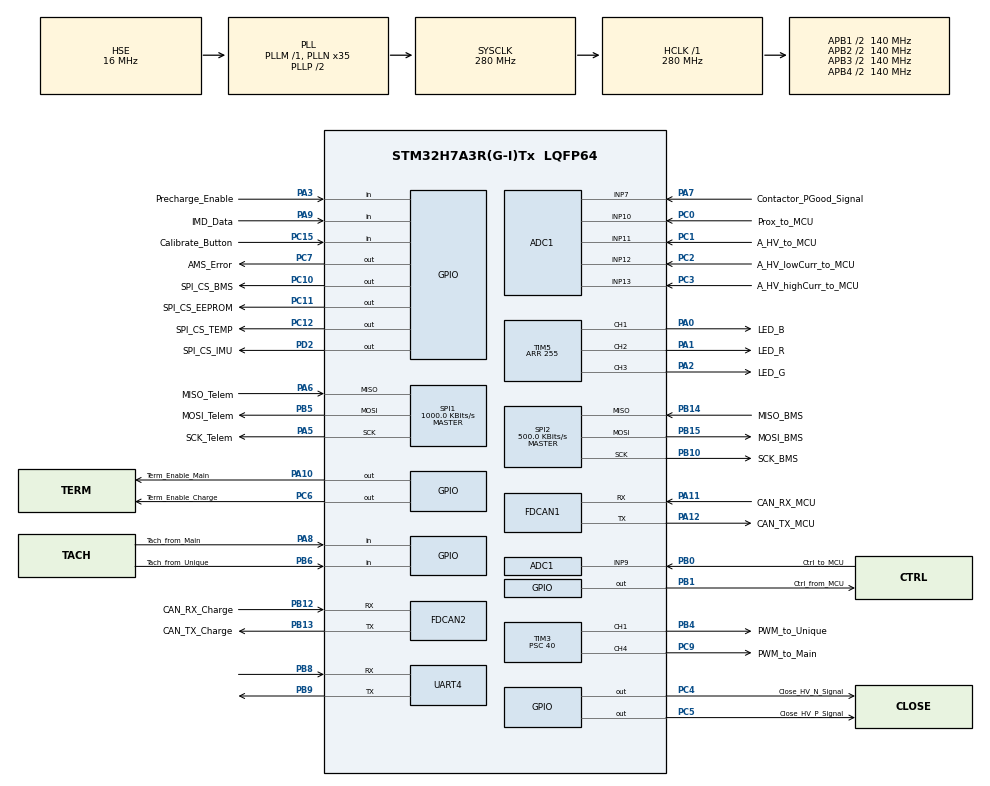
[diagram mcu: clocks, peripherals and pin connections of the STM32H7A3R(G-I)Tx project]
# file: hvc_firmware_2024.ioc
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ADC1.Channel-0\#ChannelRegularConversion=ADC_CHANNEL_7
ADC1.Channel-1\#ChannelRegularConversion=ADC_CHANNEL_9
ADC1.Channel-2\#ChannelRegularConversion=ADC_CHANNEL_10
ADC1.Channel-3\#ChannelRegularConversion=ADC_CHANNEL_11
ADC1.Channel-4\#ChannelRegularConversion=ADC_CHANNEL_12
ADC1.Channel-5\#ChannelRegularConversion=ADC_CHANNEL_13
ADC1.ContinuousConvMode=ENABLE
ADC1.ConversionDataManagement=ADC_CONVERSIONDATA_DMA_CIRCULAR
ADC1.EOCSelection=ADC_EOC_SEQ_CONV
ADC1.NbrOfConversion=6
ADC1.NbrOfConversionFlag=1
ADC1.OffsetNumber-0\#ChannelRegularConversion=ADC_OFFSET_NONE
ADC1.OffsetNumber-1\#ChannelRegularConversion=ADC_OFFSET_NONE
ADC1.OffsetNumber-2\#ChannelRegularConversion=ADC_OFFSET_NONE
ADC1.OffsetNumber-3\#ChannelRegularConversion=ADC_OFFSET_NONE
ADC1.OffsetNumber-4\#ChannelRegularConversion=ADC_OFFSET_NONE
ADC1.OffsetNumber-5\#ChannelRegularConversion=ADC_OFFSET_NONE
ADC1.OffsetSignedSaturation-0\#ChannelRegularConversion=DISABLE
ADC1.OffsetSignedSaturation-1\#ChannelRegularConversion=DISABLE
ADC1.OffsetSignedSaturation-2\#ChannelRegularConversion=DISABLE
ADC1.OffsetSignedSaturation-3\#ChannelRegularConversion=DISABLE
ADC1.OffsetSignedSaturation-4\#ChannelRegularConversion=DISABLE
ADC1.OffsetSignedSaturation-5\#ChannelRegularConversion=DISABLE
ADC1.OversamplingMode=ENABLE
ADC1.Rank-0\#ChannelRegularConversion=1
ADC1.Rank-1\#ChannelRegularConversion=2
ADC1.Rank-2\#ChannelRegularConversion=3
ADC1.Rank-3\#ChannelRegularConversion=4
ADC1.Rank-4\#ChannelRegularConversion=5
ADC1.Rank-5\#ChannelRegularConversion=6
ADC1.Ratio=16
ADC1.RightBitShift=ADC_RIGHTBITSHIFT_4
ADC1.SamplingTime-0\#ChannelRegularConversion=ADC_SAMPLETIME_1CYCLE_5
ADC1.SamplingTime-1\#ChannelRegularConversion=ADC_SAMPLETIME_1CYCLE_5
ADC1.SamplingTime-2\#ChannelRegularConversion=ADC_SAMPLETIME_1CYCLE_5
ADC1.SamplingTime-3\#ChannelRegularConversion=ADC_SAMPLETIME_1CYCLE_5
ADC1.SamplingTime-4\#ChannelRegularConversion=ADC_SAMPLETIME_1CYCLE_5
ADC1.SamplingTime-5\#ChannelRegularConversion=ADC_SAMPLETIME_1CYCLE_5
ADC1.master=1
Dma.ADC1.0.Direction=DMA_PERIPH_TO_MEMORY
Dma.ADC1.0.EventEnable=DISABLE
Dma.ADC1.0.FIFOMode=DMA_FIFOMODE_DISABLE
Dma.ADC1.0.Instance=DMA1_Stream0
Dma.ADC1.0.MemDataAlignment=DMA_MDATAALIGN_HALFWORD
Dma.ADC1.0.MemInc=DMA_MINC_ENABLE
Dma.ADC1.0.Mode=DMA_CIRCULAR
Dma.ADC1.0.PeriphDataAlignment=DMA_PDATAALIGN_HALFWORD
Dma.ADC1.0.PeriphInc=DMA_PINC_DISABLE
Dma.ADC1.0.Polarity=HAL_DMAMUX_REQ_GEN_RISING
Dma.ADC1.0.Priority=DMA_PRIORITY_LOW
Dma.ADC1.0.RequestNumber=1
Dma.ADC1.0.SignalID=NONE
Dma.ADC1.0.SyncEnable=DISABLE
Dma.ADC1.0.SyncPolarity=HAL_DMAMUX_SYNC_NO_EVENT
Dma.ADC1.0.SyncRequestNumber=1
Dma.ADC1.0.SyncSignalID=NONE
Dma.Request0=ADC1
FDCAN1.CalculateBaudRateNominal=1000000
FDCAN1.CalculateTimeBitNominal=1000
FDCAN1.CalculateTimeQuantumNominal=62.5
FDCAN1.NominalPrescaler=1
FDCAN1.NominalTimeSeg1=13
FDCAN1.RxFifo0ElmtsNbr=64
FDCAN2.CalculateBaudRateNominal=500000
FDCAN2.CalculateTimeBitNominal=2000
FDCAN2.CalculateTimeQuantumNominal=125.0
FDCAN2.NominalPrescaler=2
FDCAN2.NominalTimeSeg1=13
Mcu.Family=STM32H7
Mcu.Name=STM32H7A3R(G-I)Tx
Mcu.Package=LQFP64
NVIC.DMA1_Stream0_IRQn=true\:0\:0\:false\:false\:true\:false\:true\:true
NVIC.PriorityGroup=NVIC_PRIORITYGROUP_4
PA0.GPIO_Label=LED_B
PA0.GPIO_ModeDefaultPP=GPIO_MODE_AF_OD
PA0.GPIO_Speed=GPIO_SPEED_FREQ_VERY_HIGH
PA0.Signal=S_TIM5_CH1
PA1.GPIO_Label=LED_R
PA1.GPIO_ModeDefaultPP=GPIO_MODE_AF_OD
PA1.GPIO_Speed=GPIO_SPEED_FREQ_VERY_HIGH
PA1.Signal=S_TIM5_CH2
PA10.GPIO_Label=Term_Enable_Main
PA10.Signal=GPIO_Output
PA11.GPIO_Label=CAN_RX_MCU
PA11.Mode=FDCAN_Activate
PA11.Signal=FDCAN1_RX
PA12.GPIO_Label=CAN_TX_MCU
PA12.Mode=FDCAN_Activate
PA12.Signal=FDCAN1_TX
PA13.Mode=Trace_Asynchronous_SW
PA13.Signal=DEBUG_JTMS-SWDIO
PA14.Mode=Trace_Asynchronous_SW
PA14.Signal=DEBUG_JTCK-SWCLK
PA2.GPIO_Label=LED_G
PA2.GPIO_ModeDefaultPP=GPIO_MODE_AF_OD
PA2.GPIO_Speed=GPIO_SPEED_FREQ_VERY_HIGH
PA2.Signal=S_TIM5_CH3
PA3.GPIO_Label=Precharge_Enable
PA3.Signal=GPIO_Input
PA5.GPIO_Label=SCK_Telem
PA5.GPIO_PuPd=GPIO_PULLUP
PA5.GPIO_Speed=GPIO_SPEED_FREQ_VERY_HIGH
PA5.Mode=Full_Duplex_Master
PA5.Signal=SPI1_SCK
PA6.GPIO_Label=MISO_Telem
PA6.GPIO_PuPd=GPIO_PULLUP
PA6.GPIO_Speed=GPIO_SPEED_FREQ_VERY_HIGH
PA6.Mode=Full_Duplex_Master
PA6.Signal=SPI1_MISO
PA7.GPIO_Label=Contactor_PGood_Signal
PA7.Signal=ADCx_INP7
PA8.GPIO_Label=Tach_from_Main
PA8.GPIO_PuPd=GPIO_PULLUP
PA8.Signal=GPIO_Input
PA9.GPIO_Label=IMD_Data
PA9.Signal=GPIO_Input
PB0.GPIO_Label=Ctrl_to_MCU
PB0.Signal=ADCx_INP9
PB1.GPIO_Label=Ctrl_from_MCU
PB1.Signal=GPIO_Output
PB10.GPIO_Label=SCK_BMS
PB10.GPIO_PuPd=GPIO_PULLUP
PB10.GPIO_Speed=GPIO_SPEED_FREQ_VERY_HIGH
PB10.Mode=Full_Duplex_Master
PB10.Signal=SPI2_SCK
PB12.GPIO_Label=CAN_RX_Charge
PB12.Mode=FDCAN_Activate
PB12.Signal=FDCAN2_RX
PB13.GPIO_Label=CAN_TX_Charge
PB13.Mode=FDCAN_Activate
PB13.Signal=FDCAN2_TX
PB14.GPIO_Label=MISO_BMS
PB14.GPIO_PuPd=GPIO_PULLUP
PB14.GPIO_Speed=GPIO_SPEED_FREQ_VERY_HIGH
PB14.Mode=Full_Duplex_Master
PB14.Signal=SPI2_MISO
PB15.GPIO_Label=MOSI_BMS
PB15.GPIO_PuPd=GPIO_PULLUP
PB15.GPIO_Speed=GPIO_SPEED_FREQ_VERY_HIGH
PB15.Mode=Full_Duplex_Master
PB15.Signal=SPI2_MOSI
PB3.Mode=Trace_Asynchronous_SW
PB3.Signal=DEBUG_JTDO-SWO
PB4.GPIO_Label=PWM_to_Unique
PB4.GPIO_PuPd=GPIO_NOPULL
PB4.Signal=S_TIM3_CH1
PB5.GPIO_Label=MOSI_Telem
PB5.GPIO_PuPd=GPIO_PULLUP
PB5.GPIO_Speed=GPIO_SPEED_FREQ_VERY_HIGH
PB5.Mode=Full_Duplex_Master
PB5.Signal=SPI1_MOSI
PB6.GPIO_Label=Tach_from_Unique
PB6.GPIO_PuPd=GPIO_PULLUP
PB6.Signal=GPIO_Input
PB8.Mode=Asynchronous
PB8.Signal=UART4_RX
PB9.Mode=Asynchronous
PB9.Signal=UART4_TX
PC0.GPIO_Label=Prox_to_MCU
PC0.Signal=ADCx_INP10
PC1.GPIO_Label=A_HV_to_MCU
PC1.Signal=ADCx_INP11
PC10.GPIO_Label=SPI_CS_BMS
PC10.GPIO_Speed=GPIO_SPEED_FREQ_VERY_HIGH
PC10.PinState=GPIO_PIN_SET
PC10.Signal=GPIO_Output
PC11.GPIO_Label=SPI_CS_EEPROM
PC11.GPIO_Speed=GPIO_SPEED_FREQ_VERY_HIGH
PC11.PinState=GPIO_PIN_SET
PC11.Signal=GPIO_Output
PC12.GPIO_Label=SPI_CS_TEMP
PC12.GPIO_Speed=GPIO_SPEED_FREQ_VERY_HIGH
PC12.PinState=GPIO_PIN_SET
PC12.Signal=GPIO_Output
PC15-OSC32_OUT.GPIO_Label=Calibrate_Button
PC15-OSC32_OUT.Signal=GPIO_Input
PC2.GPIO_Label=A_HV_lowCurr_to_MCU
PC2.Signal=ADCx_INP12
PC3.GPIO_Label=A_HV_highCurr_to_MCU
PC3.Signal=ADCx_INP13
PC4.GPIO_Label=Close_HV_N_Signal
PC4.Signal=GPIO_Output
PC5.GPIO_Label=Close_HV_P_Signal
PC5.Signal=GPIO_Output
PC6.GPIO_Label=Term_Enable_Charge
PC6.Signal=GPIO_Output
PC7.GPIO_Label=AMS_Error
PC7.Signal=GPIO_Output
PC9.GPIO_Label=PWM_to_Main
PC9.Signal=S_TIM3_CH4
PD2.GPIO_Label=SPI_CS_IMU
PD2.GPIO_Speed=GPIO_SPEED_FREQ_VERY_HIGH
PD2.PinState=GPIO_PIN_SET
PD2.Signal=GPIO_Output
PH0-OSC_IN.Mode=HSE-External-Oscillator
PH0-OSC_IN.Signal=RCC_OSC_IN
PH1-OSC_OUT.Mode=HSE-External-Oscillator
PH1-OSC_OUT.Signal=RCC_OSC_OUT
ProjectManager.HeapSize=0x200
ProjectManager.StackSize=0x400
ProjectManager.TargetToolchain=STM32CubeIDE
RCC.ADCFreq_Value=3686400
RCC.APB1Freq_Value=140000000
RCC.APB2Freq_Value=140000000
RCC.APB3Freq_Value=140000000
RCC.APB4Freq_Value=140000000
RCC.CDPPRE=RCC_APB3_DIV2
RCC.CDPPRE1=RCC_APB1_DIV2
RCC.CDPPRE2=RCC_APB2_DIV2
RCC.CortexFreq_Value=280000000
RCC.DIVM1=1
RCC.DIVM2=10
RCC.DIVM3=1
RCC.DIVN1=35
RCC.DIVN2=288
RCC.DIVN3=8
RCC.DIVP2=125
RCC.FDCANCLockSelection=RCC_FDCANCLKSOURCE_HSE
RCC.HCLKFreq_Value=280000000
RCC.HSE_VALUE=16000000
RCC.PLLSourceVirtual=RCC_PLLSOURCE_HSE
RCC.SPI123CLockSelection=RCC_SPI123CLKSOURCE_PLL3
RCC.SRDPPRE=RCC_APB4_DIV2
RCC.SYSCLKFreq_VALUE=280000000
RCC.SYSCLKSource=RCC_SYSCLKSOURCE_PLLCLK
RCC.USBFreq_Value=280000000
SH.ADCx_INP10.0=ADC1_INP10,IN10-Single-Ended
SH.ADCx_INP11.0=ADC1_INP11,IN11-Single-Ended
SH.ADCx_INP12.0=ADC1_INP12,IN12-Single-Ended
SH.ADCx_INP13.0=ADC1_INP13,IN13-Single-Ended
SH.ADCx_INP7.0=ADC1_INP7,IN7-Single-Ended
SH.ADCx_INP9.0=ADC1_INP9,IN9-Single-Ended
SH.S_TIM3_CH1.0=TIM3_CH1,PWM Generation1 CH1
SH.S_TIM3_CH4.0=TIM3_CH4,PWM Generation4 CH4
SH.S_TIM5_CH1.0=TIM5_CH1,PWM Generation1 CH1
SH.S_TIM5_CH2.0=TIM5_CH2,PWM Generation2 CH2
SH.S_TIM5_CH3.0=TIM5_CH3,PWM Generation3 CH3
SPI1.BaudRatePrescaler=SPI_BAUDRATEPRESCALER_64
SPI1.CLKPhase=SPI_PHASE_2EDGE
SPI1.CLKPolarity=SPI_POLARITY_HIGH
SPI1.CalculateBaudRate=1000.0 KBits/s
SPI1.DataSize=SPI_DATASIZE_8BIT
SPI1.Direction=SPI_DIRECTION_2LINES
SPI1.Mode=SPI_MODE_MASTER
SPI1.VirtualType=VM_MASTER
SPI2.BaudRatePrescaler=SPI_BAUDRATEPRESCALER_128
SPI2.CLKPhase=SPI_PHASE_2EDGE
SPI2.CLKPolarity=SPI_POLARITY_HIGH
SPI2.CalculateBaudRate=500.0 KBits/s
SPI2.DataSize=SPI_DATASIZE_8BIT
SPI2.Direction=SPI_DIRECTION_2LINES
SPI2.Mode=SPI_MODE_MASTER
SPI2.VirtualType=VM_MASTER
TIM3.Channel-PWM\ Generation1\ CH1=TIM_CHANNEL_1
TIM3.Channel-PWM\ Generation4\ CH4=TIM_CHANNEL_4
TIM3.Period=255
TIM3.Prescaler=40
TIM5.Channel-PWM\ Generation1\ CH1=TIM_CHANNEL_1
TIM5.Channel-PWM\ Generation2\ CH2=TIM_CHANNEL_2
TIM5.Channel-PWM\ Generation3\ CH3=TIM_CHANNEL_3
TIM5.OCFastMode_PWM-PWM\ Generation1\ CH1=TIM_OCFAST_ENABLE
TIM5.OCFastMode_PWM-PWM\ Generation2\ CH2=TIM_OCFAST_ENABLE
TIM5.OCFastMode_PWM-PWM\ Generation3\ CH3=TIM_OCFAST_ENABLE
TIM5.OCPolarity_1=TIM_OCPOLARITY_LOW
TIM5.OCPolarity_2=TIM_OCPOLARITY_LOW
TIM5.OCPolarity_3=TIM_OCPOLARITY_LOW
TIM5.Period=255
VP_TIM3_VS_ClockSourceINT.Mode=Internal
VP_TIM5_VS_ClockSourceINT.Mode=Internal
board=custom

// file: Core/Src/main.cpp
/* USER CODE BEGIN Header */
/**
  ******************************************************************************
  * @file           : main.c
  * @brief          : Main program body
  ******************************************************************************
  * @attention
  *
  * Copyright (c) 2023 STMicroelectronics.
  * All rights reserved.
  *
  * This software is licensed under terms that can be found in the LICENSE file
  * in the root directory of this software component.
  * If no LICENSE file comes with this software, it is provided AS-IS.
  *
  ******************************************************************************
  */
/* USER CODE END Header */
#include "main.h"
#include "adc.h"
#include "dma.h"
#include "fdcan.h"
#include "spi.h"
#include "tim.h"
#include "usart.h"
#include "gpio.h"

/* USER CODE BEGIN Includes */
#include "imd.h"
#include "state_machine.h"
#include "vcu.h"
#include "charging.h"
#include "vsense.h"
#include "isense.h"
#include "tsense.h"
#include "cells.h"
#include "clock.h"
#include "fans.h"
#include "led.h"
#include "usb.h"
#include "imu.h"
#include "contactors.h"
/* USER CODE END Includes */

void SystemClock_Config(void);
void PeriphCommonClock_Config(void);

int main(void)
{

  /* MCU Configuration--------------------------------------------------------*/

  /* Reset of all peripherals, Initializes the Flash interface and the Systick. */
  HAL_Init();

  /* Configure the system clock */
  SystemClock_Config();

/* Configure the peripherals common clocks */
  PeriphCommonClock_Config();

  /* Initialize all configured peripherals */
  MX_GPIO_Init();
  MX_DMA_Init();
  MX_FDCAN1_Init();
  MX_FDCAN2_Init();
  MX_ADC1_Init();
  MX_SPI1_Init();
  MX_TIM3_Init();
  MX_SPI2_Init();
  MX_TIM5_Init();
  MX_UART4_Init();
  /* USER CODE BEGIN 2 */
  clock_init();
  led_init();
  tsenseInit();
  chargingInit();
  fansInit();
  vcuInit();
  stateMachineInit();
  cellsInit();

  imu_init(&hspi1);

  /* USER CODE END 2 */

  /* Infinite loop */
  while (1) {

    /* USER CODE BEGIN 3 */
//    setDriveContactor(((int)clock_getTime())%2);

    float deltaTime = clock_getDeltaTime();
    led_rainbow(deltaTime);

    bool imdOk = isImdOk();
    bool shutdownClosed = isShutdownClosed();
    bool chargerPresent = isChargingConnected();

    bool hvOk = isTempWithinBounds();
    hvOk = hvOk && isPackVoltageWithinBounds();
    hvOk = hvOk && isPackCurrentWithinBounds();
    hvOk = hvOk && areCellVoltagesWithinBounds();

    writeAmsError(!hvOk);

    hvOk = hvOk && imdOk;

//    int state = updateStateMachine(shutdownClosed, hvOk, chargerPresent, deltaTime);

    cellsPeriodic();
    println(getPackVoltageFromCells());
//    tsensePeriodic();
//    vcuPeriodic(!hvOk, !imdOk, state, deltaTime);
    chargingPeriodic(deltaTime);
    fansPeriodic(deltaTime);
//    println(getAmbientTemp());

    // TODO output AMS fault
  }
  /* USER CODE END 3 */
}

void SystemClock_Config(void)
{
  RCC_OscInitTypeDef RCC_OscInitStruct = {0};
  RCC_ClkInitTypeDef RCC_ClkInitStruct = {0};

  /*AXI clock gating */
  RCC->CKGAENR = 0xFFFFFFFF;

  /** Supply configuration update enable
  */
  HAL_PWREx_ConfigSupply(PWR_LDO_SUPPLY);

  /** Configure the main internal regulator output voltage
  */
  __HAL_PWR_VOLTAGESCALING_CONFIG(PWR_REGULATOR_VOLTAGE_SCALE0);

  while(!__HAL_PWR_GET_FLAG(PWR_FLAG_VOSRDY)) {}

  /** Initializes the RCC Oscillators according to the specified parameters
  * in the RCC_OscInitTypeDef structure.
  */
  RCC_OscInitStruct.OscillatorType = RCC_OSCILLATORTYPE_HSE;
  RCC_OscInitStruct.HSEState = RCC_HSE_ON;
  RCC_OscInitStruct.PLL.PLLState = RCC_PLL_ON;
  RCC_OscInitStruct.PLL.PLLSource = RCC_PLLSOURCE_HSE;
  RCC_OscInitStruct.PLL.PLLM = 1;
  RCC_OscInitStruct.PLL.PLLN = 35;
  RCC_OscInitStruct.PLL.PLLP = 2;
  RCC_OscInitStruct.PLL.PLLQ = 2;
  RCC_OscInitStruct.PLL.PLLR = 2;
  RCC_OscInitStruct.PLL.PLLRGE = RCC_PLL1VCIRANGE_3;
  RCC_OscInitStruct.PLL.PLLVCOSEL = RCC_PLL1VCOWIDE;
  RCC_OscInitStruct.PLL.PLLFRACN = 0;
  if (HAL_RCC_OscConfig(&RCC_OscInitStruct) != HAL_OK)
  {
    Error_Handler();
  }

  /** Initializes the CPU, AHB and APB buses clocks
  */
  RCC_ClkInitStruct.ClockType = RCC_CLOCKTYPE_HCLK|RCC_CLOCKTYPE_SYSCLK
                              |RCC_CLOCKTYPE_PCLK1|RCC_CLOCKTYPE_PCLK2
                              |RCC_CLOCKTYPE_D3PCLK1|RCC_CLOCKTYPE_D1PCLK1;
  RCC_ClkInitStruct.SYSCLKSource = RCC_SYSCLKSOURCE_PLLCLK;
  RCC_ClkInitStruct.SYSCLKDivider = RCC_SYSCLK_DIV1;
  RCC_ClkInitStruct.AHBCLKDivider = RCC_HCLK_DIV1;
  RCC_ClkInitStruct.APB3CLKDivider = RCC_APB3_DIV2;
  RCC_ClkInitStruct.APB1CLKDivider = RCC_APB1_DIV2;
  RCC_ClkInitStruct.APB2CLKDivider = RCC_APB2_DIV2;
  RCC_ClkInitStruct.APB4CLKDivider = RCC_APB4_DIV2;

  if (HAL_RCC_ClockConfig(&RCC_ClkInitStruct, FLASH_LATENCY_6) != HAL_OK)
  {
    Error_Handler();
  }
}

void PeriphCommonClock_Config(void)
{
  RCC_PeriphCLKInitTypeDef PeriphClkInitStruct = {0};

  /** Initializes the peripherals clock
  */
  PeriphClkInitStruct.PeriphClockSelection = RCC_PERIPHCLK_SPI2|RCC_PERIPHCLK_SPI1;
  PeriphClkInitStruct.PLL3.PLL3M = 1;
  PeriphClkInitStruct.PLL3.PLL3N = 8;
  PeriphClkInitStruct.PLL3.PLL3P = 2;
  PeriphClkInitStruct.PLL3.PLL3Q = 2;
  PeriphClkInitStruct.PLL3.PLL3R = 2;
  PeriphClkInitStruct.PLL3.PLL3RGE = RCC_PLL3VCIRANGE_3;
  PeriphClkInitStruct.PLL3.PLL3VCOSEL = RCC_PLL3VCOWIDE;
  PeriphClkInitStruct.PLL3.PLL3FRACN = 0;
  PeriphClkInitStruct.Spi123ClockSelection = RCC_SPI123CLKSOURCE_PLL3;
  if (HAL_RCCEx_PeriphCLKConfig(&PeriphClkInitStruct) != HAL_OK)
  {
    Error_Handler();
  }
}

void Error_Handler(void)
{
  __disable_irq();
  while (1) {
  }
}
